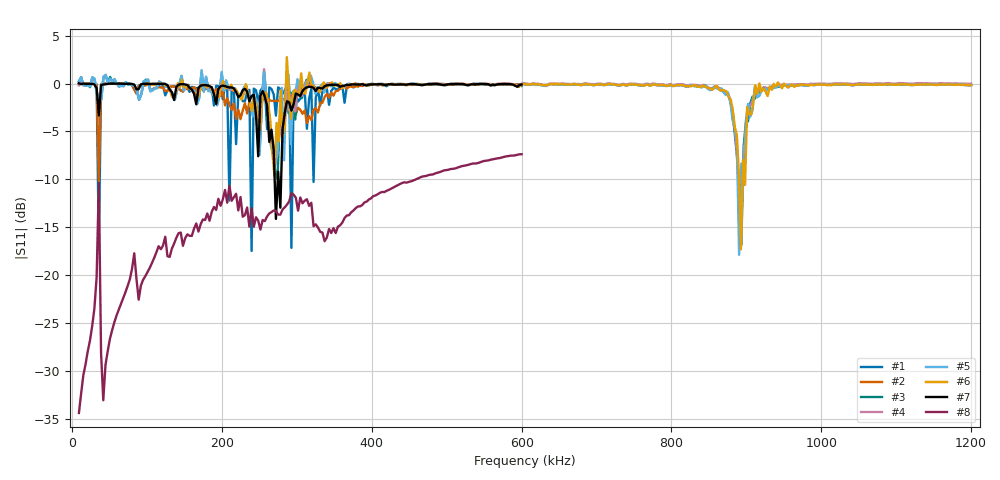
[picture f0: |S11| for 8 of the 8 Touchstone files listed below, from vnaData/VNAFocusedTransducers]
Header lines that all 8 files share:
!Data & Calibration Information:
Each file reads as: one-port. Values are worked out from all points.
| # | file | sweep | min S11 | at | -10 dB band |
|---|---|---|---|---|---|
| 1 | 027.S1P | 9 kHz to 600 kHz | -17.5 dB | 239.5 kHz | 2.472 kHz wide |
| 2 | 0271.S1P | 9 kHz to 600 kHz | -10.2 dB | 35.59 kHz | 116 Hz wide |
| 3 | 02101.S1P | 9 kHz to 1.2 MHz | -16.8 dB | 893.3 kHz | 5.752 kHz wide |
| 4 | 02102.S1P | 9 kHz to 1.2 MHz | -12.7 dB | 890.3 kHz | 5.94 kHz wide |
| 5 | 02103.S1P | 9 kHz to 1.2 MHz | -17.9 dB | 890.3 kHz | 4.444 kHz wide |
| 6 | 02106.S1P | 100 kHz to 1.2 MHz | -17.3 dB | 892.8 kHz | 4.709 kHz wide |
| 7 | SN021NoMatchingNetwork9_500KHz.S1P | 9 kHz to 600 kHz | -14.1 dB | 272 kHz | 4.173 kHz wide |
| 8 | SN027_9_500kHz.S1P | 9 kHz to 600 kHz | -34.4 dB | 9 kHz | over 450 kHz wide |
